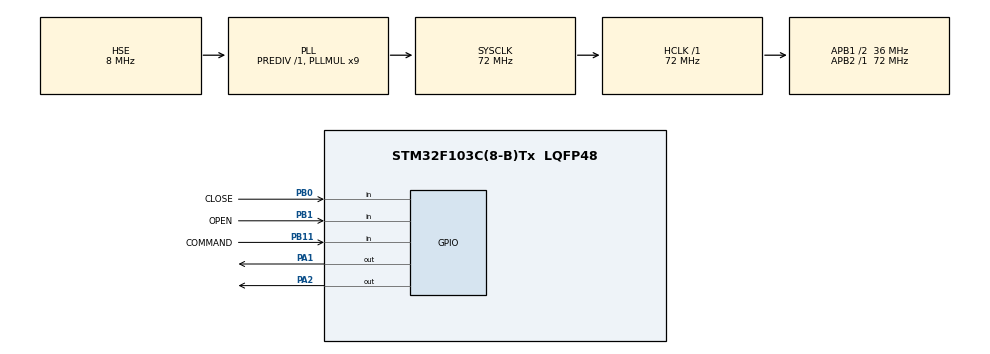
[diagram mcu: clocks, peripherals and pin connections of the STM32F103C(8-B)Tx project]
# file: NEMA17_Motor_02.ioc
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Mcu.Family=STM32F1
Mcu.Name=STM32F103C(8-B)Tx
Mcu.Package=LQFP48
NVIC.PriorityGroup=NVIC_PRIORITYGROUP_4
PA1.Signal=GPIO_Output
PA13.Mode=Serial_Wire
PA13.Signal=SYS_JTMS-SWDIO
PA14.Mode=Serial_Wire
PA14.Signal=SYS_JTCK-SWCLK
PA2.Signal=GPIO_Output
PB0.GPIO_Label=CLOSE
PB0.GPIO_PuPd=GPIO_PULLDOWN
PB0.Signal=GPIO_Input
PB1.GPIO_Label=OPEN
PB1.GPIO_PuPd=GPIO_PULLDOWN
PB1.Signal=GPIO_Input
PB11.GPIO_Label=COMMAND
PB11.GPIO_PuPd=GPIO_PULLDOWN
PB11.Signal=GPIO_Input
PD0-OSC_IN.Mode=HSE-External-Oscillator
PD0-OSC_IN.Signal=RCC_OSC_IN
PD1-OSC_OUT.Mode=HSE-External-Oscillator
PD1-OSC_OUT.Signal=RCC_OSC_OUT
ProjectManager.HeapSize=0x200
ProjectManager.StackSize=0x400
ProjectManager.TargetToolchain=STM32CubeIDE
RCC.AHBFreq_Value=72000000
RCC.APB1CLKDivider=RCC_HCLK_DIV2
RCC.APB1Freq_Value=36000000
RCC.APB1TimFreq_Value=72000000
RCC.APB2Freq_Value=72000000
RCC.APB2TimFreq_Value=72000000
RCC.HCLKFreq_Value=72000000
RCC.PLLMUL=RCC_PLL_MUL9
RCC.PLLSourceVirtual=RCC_PLLSOURCE_HSE
RCC.SYSCLKFreq_VALUE=72000000
RCC.SYSCLKSource=RCC_SYSCLKSOURCE_PLLCLK
RCC.USBFreq_Value=72000000
TIM1.Prescaler=71
VP_TIM1_VS_ClockSourceINT.Mode=Internal
board=custom

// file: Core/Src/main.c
/* USER CODE BEGIN Header */
/**
  ******************************************************************************
  * @file           : main.c
  * @brief          : Main program body
  ******************************************************************************
  * @attention
  *
  * Copyright (c) 2023 STMicroelectronics.
  * All rights reserved.
  *
  * This software is licensed under terms that can be found in the LICENSE file
  * in the root directory of this software component.
  * If no LICENSE file comes with this software, it is provided AS-IS.
  *
  ******************************************************************************
  */
/* USER CODE END Header */
#include "main.h"

TIM_HandleTypeDef htim1;

void SystemClock_Config(void);
static void MX_GPIO_Init(void);
static void MX_TIM1_Init(void);

/* USER CODE BEGIN 0 */

void microDelay (uint16_t delay)
{
  __HAL_TIM_SET_COUNTER(&htim1, 0);   // set the counter value a 0
  while (__HAL_TIM_GET_COUNTER(&htim1) < delay);   // wait for the counter to reach the us input in the parameter
}

void lidControl(uint8_t direction, uint16_t velocity)
{
	if(direction == 0)
		HAL_GPIO_WritePin(GPIOA, GPIO_PIN_1, GPIO_PIN_SET);  //lid close

	else if(direction == 1)
		HAL_GPIO_WritePin(GPIOA, GPIO_PIN_1, GPIO_PIN_RESET); //lid open

	HAL_GPIO_WritePin(GPIOA, GPIO_PIN_2, GPIO_PIN_SET);
	microDelay(velocity);
	HAL_GPIO_WritePin(GPIOA, GPIO_PIN_2, GPIO_PIN_RESET);
	microDelay(velocity);
}

/* USER CODE END 0 */

int main(void)
{

  /* MCU Configuration--------------------------------------------------------*/

  /* Reset of all peripherals, Initializes the Flash interface and the Systick. */
  HAL_Init();

  /* Configure the system clock */
  SystemClock_Config();

  /* Initialize all configured peripherals */
  MX_GPIO_Init();
  MX_TIM1_Init();
  /* USER CODE BEGIN 2 */
  HAL_TIM_Base_Start(&htim1);

  /* USER CODE END 2 */

  /* Infinite loop */
  /* USER CODE BEGIN WHILE */
  while (1)
  {
	  /* LID OPEN/CLOSE */

	  if (HAL_GPIO_ReadPin(COMMAND_GPIO_Port, COMMAND_Pin) == 1) //open lid command
	  {
		  if(HAL_GPIO_ReadPin(OPEN_GPIO_Port, OPEN_Pin) != 1)
		  {
			  lidControl(0, 1000);
		  }
		  else if (HAL_GPIO_ReadPin(OPEN_GPIO_Port, OPEN_Pin) == 1)
		  {
			  lidControl(0, 0);
		  }
	  }

	  if (HAL_GPIO_ReadPin(COMMAND_GPIO_Port, COMMAND_Pin) == 0) //close lid command
	  {
		  if(HAL_GPIO_ReadPin(CLOSE_GPIO_Port, CLOSE_Pin) != 1)
		  {
			  lidControl(1, 1000);
		  }
		  else if (HAL_GPIO_ReadPin(CLOSE_GPIO_Port, CLOSE_Pin) == 1)
		  {
			  lidControl(0, 0);
		  }
	  }

    /* USER CODE END WHILE */

  }
}

void SystemClock_Config(void)
{
  RCC_OscInitTypeDef RCC_OscInitStruct = {0};
  RCC_ClkInitTypeDef RCC_ClkInitStruct = {0};

  /** Initializes the RCC Oscillators according to the specified parameters
  * in the RCC_OscInitTypeDef structure.
  */
  RCC_OscInitStruct.OscillatorType = RCC_OSCILLATORTYPE_HSE;
  RCC_OscInitStruct.HSEState = RCC_HSE_ON;
  RCC_OscInitStruct.HSEPredivValue = RCC_HSE_PREDIV_DIV1;
  RCC_OscInitStruct.HSIState = RCC_HSI_ON;
  RCC_OscInitStruct.PLL.PLLState = RCC_PLL_ON;
  RCC_OscInitStruct.PLL.PLLSource = RCC_PLLSOURCE_HSE;
  RCC_OscInitStruct.PLL.PLLMUL = RCC_PLL_MUL9;
  if (HAL_RCC_OscConfig(&RCC_OscInitStruct) != HAL_OK)
  {
    Error_Handler();
  }

  /** Initializes the CPU, AHB and APB buses clocks
  */
  RCC_ClkInitStruct.ClockType = RCC_CLOCKTYPE_HCLK|RCC_CLOCKTYPE_SYSCLK
                              |RCC_CLOCKTYPE_PCLK1|RCC_CLOCKTYPE_PCLK2;
  RCC_ClkInitStruct.SYSCLKSource = RCC_SYSCLKSOURCE_PLLCLK;
  RCC_ClkInitStruct.AHBCLKDivider = RCC_SYSCLK_DIV1;
  RCC_ClkInitStruct.APB1CLKDivider = RCC_HCLK_DIV2;
  RCC_ClkInitStruct.APB2CLKDivider = RCC_HCLK_DIV1;

  if (HAL_RCC_ClockConfig(&RCC_ClkInitStruct, FLASH_LATENCY_2) != HAL_OK)
  {
    Error_Handler();
  }
}

static void MX_TIM1_Init(void)
{

  TIM_ClockConfigTypeDef sClockSourceConfig = {0};
  TIM_MasterConfigTypeDef sMasterConfig = {0};

  htim1.Instance = TIM1;
  htim1.Init.Prescaler = 71;
  htim1.Init.CounterMode = TIM_COUNTERMODE_UP;
  htim1.Init.Period = 65535;
  htim1.Init.ClockDivision = TIM_CLOCKDIVISION_DIV1;
  htim1.Init.RepetitionCounter = 0;
  htim1.Init.AutoReloadPreload = TIM_AUTORELOAD_PRELOAD_DISABLE;
  if (HAL_TIM_Base_Init(&htim1) != HAL_OK)
  {
    Error_Handler();
  }
  sClockSourceConfig.ClockSource = TIM_CLOCKSOURCE_INTERNAL;
  if (HAL_TIM_ConfigClockSource(&htim1, &sClockSourceConfig) != HAL_OK)
  {
    Error_Handler();
  }
  sMasterConfig.MasterOutputTrigger = TIM_TRGO_RESET;
  sMasterConfig.MasterSlaveMode = TIM_MASTERSLAVEMODE_DISABLE;
  if (HAL_TIMEx_MasterConfigSynchronization(&htim1, &sMasterConfig) != HAL_OK)
  {
    Error_Handler();
  }

}

static void MX_GPIO_Init(void)
{
  GPIO_InitTypeDef GPIO_InitStruct = {0};

  /* GPIO Ports Clock Enable */
  __HAL_RCC_GPIOD_CLK_ENABLE();
  __HAL_RCC_GPIOA_CLK_ENABLE();
  __HAL_RCC_GPIOB_CLK_ENABLE();

  /*Configure GPIO pin Output Level */
  HAL_GPIO_WritePin(GPIOA, GPIO_PIN_1|GPIO_PIN_2, GPIO_PIN_RESET);

  /*Configure GPIO pins : PA1 PA2 */
  GPIO_InitStruct.Pin = GPIO_PIN_1|GPIO_PIN_2;
  GPIO_InitStruct.Mode = GPIO_MODE_OUTPUT_PP;
  GPIO_InitStruct.Pull = GPIO_NOPULL;
  GPIO_InitStruct.Speed = GPIO_SPEED_FREQ_LOW;
  HAL_GPIO_Init(GPIOA, &GPIO_InitStruct);

  /*Configure GPIO pins : CLOSE_Pin OPEN_Pin COMMAND_Pin */
  GPIO_InitStruct.Pin = CLOSE_Pin|OPEN_Pin|COMMAND_Pin;
  GPIO_InitStruct.Mode = GPIO_MODE_INPUT;
  GPIO_InitStruct.Pull = GPIO_PULLDOWN;
  HAL_GPIO_Init(GPIOB, &GPIO_InitStruct);

}

void Error_Handler(void)
{
  __disable_irq();
  while (1)
  {
  }
}
